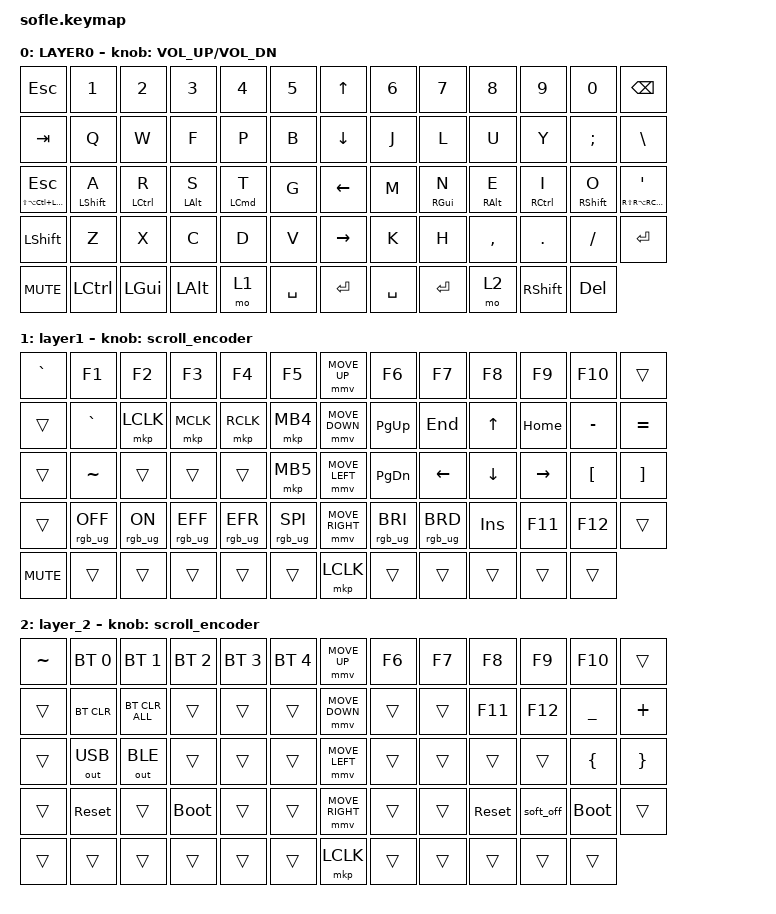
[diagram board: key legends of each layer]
#include <behaviors/mouse_keys.dtsi>
#include <behaviors.dtsi>
#include <dt-bindings/zmk/bt.h>
#include <dt-bindings/zmk/keys.h>
#include <dt-bindings/zmk/mouse.h>
#include <dt-bindings/zmk/outputs.h>
#include <dt-bindings/zmk/rgb.h>

#define ZMK_MOUSE_DEFAULT_MOVE_VAL 1200  // 600
#define ZMK_MOUSE_DEFAULT_SCRL_VAL 20    // 10
#define U_MS_U &mmv MOVE_UP
#define U_MS_D &mmv MOVE_DOWN
#define U_MS_L &mmv MOVE_LEFT
#define U_MS_R &mmv MOVE_RIGHT
#define ZMK_MOUSE_DEFAULT_MOVE_VAL 1200  //  600
#define ZMK_MOUSE_DEFAULT_SCRL_VAL 20    // 10

/ {
    behaviors {
        mmv {
            acceleration-exponent = <1>;      // 1
            time-to-max-speed-ms = <900>;    // 40
            delay-ms = <0>;                   // 0
        };

        msc {
            acceleration-exponent = <1>;      // 0
            time-to-max-speed-ms = <400>;      // 500
            delay-ms = <0>;                   //   10
        };
    };

    scroll_encoder: scroll_encoder {
        compatible = "zmk,behavior-sensor-rotate";
        #sensor-binding-cells = <0>;
        bindings = <&msc SCRL_DOWN>, <&msc SCRL_UP>;

        tap-ms = <30>;
    };

    hold: hold {
        compatible = "zmk,behavior-hold-tap";
        label = "HOLD";
        bindings = <&kp>, <&kp>;

        #binding-cells = <2>;
        tapping-term-ms = <500>;
        flavor = "balanced";
    };

    combos {
        compatible = "zmk,combos";

        hyper {
            bindings = <&kp RCMD>;
            key-positions = <55 53 39>;
        };
    };

    keymap {
        compatible = "zmk,keymap";

        layer0 {
            bindings = <
&kp ESC                            &kp N1              &kp N2         &kp N3            &kp N4        &kp N5       &kp UP_ARROW     &kp N6     &kp N7             &kp N8             &kp N9           &kp N0               &kp BACKSPACE
&kp TAB                            &kp Q               &kp W          &kp F             &kp P         &kp B        &kp DOWN_ARROW   &kp J      &kp L              &kp U              &kp Y            &kp SEMI             &kp BSLH
&hold LS(LA(LC(LEFT_GUI))) ESCAPE  &hold LEFT_SHIFT A  &hold LCTRL R  &hold LEFT_ALT S  &hold LCMD T  &kp G        &kp LEFT_ARROW   &kp M      &hold RIGHT_GUI N  &hold RIGHT_ALT E  &hold RCTRL I    &hold RIGHT_SHIFT O  &hold RS(RA(RC(RIGHT_GUI))) APOS
&kp LSHFT                          &kp Z               &kp X          &kp C             &kp D         &kp V        &kp RIGHT_ARROW  &kp K      &kp H              &kp COMMA          &kp PERIOD       &kp FSLH             &kp ENTER
&kp C_MUTE                         &kp LCTRL           &kp LEFT_GUI   &kp LEFT_ALT      &mo 1         &kp SPACE    &kp ENTER        &kp SPACE  &kp ENTER          &mo 2              &kp RIGHT_SHIFT  &kp DELETE
            >;

            sensor-bindings = <&inc_dec_kp C_VOLUME_UP C_VOL_DN>;
            display-name = "LAYER0";
        };

        layer_1 {
            bindings = <
&kp GRAVE   &kp F1           &kp F2          &kp F3           &kp F4           &kp F5             &mmv MOVE_UP     &kp F6           &kp F7           &kp F8      &kp F9     &kp F10           &trans
&trans      &kp GRAVE        &mkp LCLK       &mkp MCLK        &mkp RCLK        &mkp MB4           &mmv MOVE_DOWN   &kp PG_UP        &kp END          &kp UP      &kp HOME   &kp MINUS         &kp EQUAL
&trans      &kp TILDE        &trans          &trans           &trans           &mkp MB5           &mmv MOVE_LEFT   &kp PG_DN        &kp LEFT         &kp DOWN    &kp RIGHT  &kp LEFT_BRACKET  &kp RIGHT_BRACKET
&trans      &rgb_ug RGB_OFF  &rgb_ug RGB_ON  &rgb_ug RGB_EFF  &rgb_ug RGB_EFR  &rgb_ug RGB_SPI    &mmv MOVE_RIGHT  &rgb_ug RGB_BRI  &rgb_ug RGB_BRD  &kp INSERT  &kp F11    &kp F12           &trans
&kp C_MUTE  &trans           &trans          &trans           &trans           &trans             &mkp LCLK        &trans           &trans           &trans      &trans     &trans
            >;

            display-name = "layer1";
            sensor-bindings = <&scroll_encoder>;
        };

        layer_2 {
            bindings = <
&kp TILDE  &bt BT_SEL 0  &bt BT_SEL 1    &bt BT_SEL 2  &bt BT_SEL 3  &bt BT_SEL 4    &mmv MOVE_UP     &kp F6  &kp F7  &kp F8      &kp F9     &kp F10      &trans
&trans     &bt BT_CLR    &bt BT_CLR_ALL  &trans        &trans        &trans          &mmv MOVE_DOWN   &trans  &trans  &kp F11     &kp F12    &kp UNDER    &kp PLUS
&trans     &out OUT_USB  &out OUT_BLE    &trans        &trans        &trans          &mmv MOVE_LEFT   &trans  &trans  &trans      &trans     &kp LBRC     &kp RBRC
&trans     &sys_reset    &trans          &bootloader   &trans        &trans          &mmv MOVE_RIGHT  &trans  &trans  &sys_reset  &soft_off  &bootloader  &trans
&trans     &trans        &trans          &trans        &trans        &trans          &mkp LCLK        &trans  &trans  &trans      &trans     &trans
            >;

            sensor-bindings = <&scroll_encoder>;
        };
    };
};
